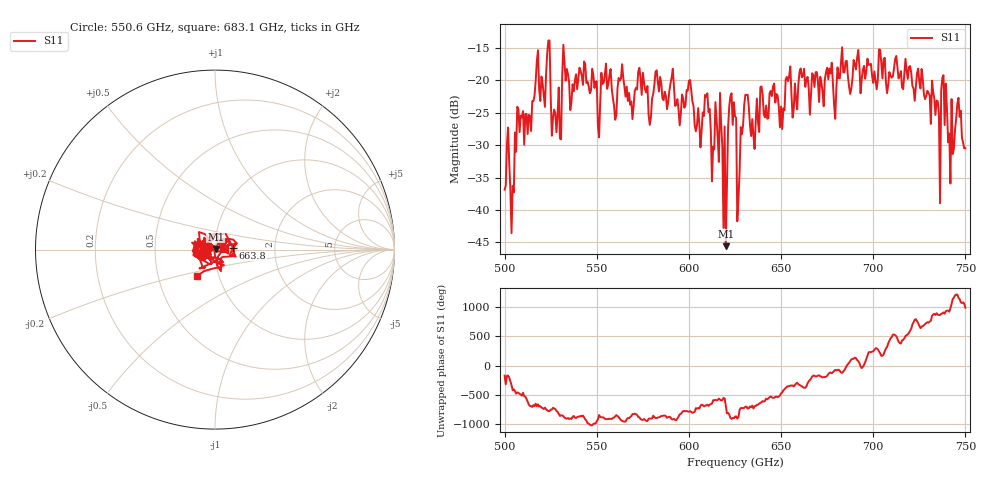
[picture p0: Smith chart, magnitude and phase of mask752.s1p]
!Created with skrf (http://scikit-rf.org).
# GHz S MA R 50.0
!freq magS11 angS11
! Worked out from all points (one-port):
!   401 points, 500 GHz to 750 GHz, reference 50 ohm
!   lowest |S11| = -45.6 dB at 620 GHz (marker M1), VSWR 1.01, Z = 50.4 + j0.315 ohm
!   |S11| at or under -10 dB: start of sweep to end of sweep
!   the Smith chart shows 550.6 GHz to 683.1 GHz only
!   S11 on the Smith chart (normalised r, x): 550.6 GHz: 0.92, +0.03; 663.8 GHz: 1.22, +0.03; 683.1 GHz: 0.78, -0.24
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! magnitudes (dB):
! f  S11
! 500 GHz  -36.9
! 503.8 GHz  -43.6
! 506.9 GHz  -24.1
! 517.5 GHz  -17.0
! 523.8 GHz  -13.9
! 526.9 GHz  -24.6
! 531.2 GHz  -19.3
! 542.5 GHz  -20.7
! 550.6 GHz  -27.0
! 562.5 GHz  -20.1
! 593.8 GHz  -22.9
! 610 GHz  -22.0
! 620 GHz  -45.6
! 622.5 GHz  -22.5
! 625 GHz  -25.6
! 627.5 GHz  -34.1
! 631.2 GHz  -22.3
! 634.4 GHz  -26.0
! 656.2 GHz  -25.8
! 663.8 GHz  -20.0
! 683.1 GHz  -14.9
! 687.5 GHz  -22.2
! 718.8 GHz  -19.8
! 735 GHz  -23.3
! 738.1 GHz  -19.3
! 742.5 GHz  -22.9
! 746.2 GHz  -22.7
! 750 GHz  -30.5
